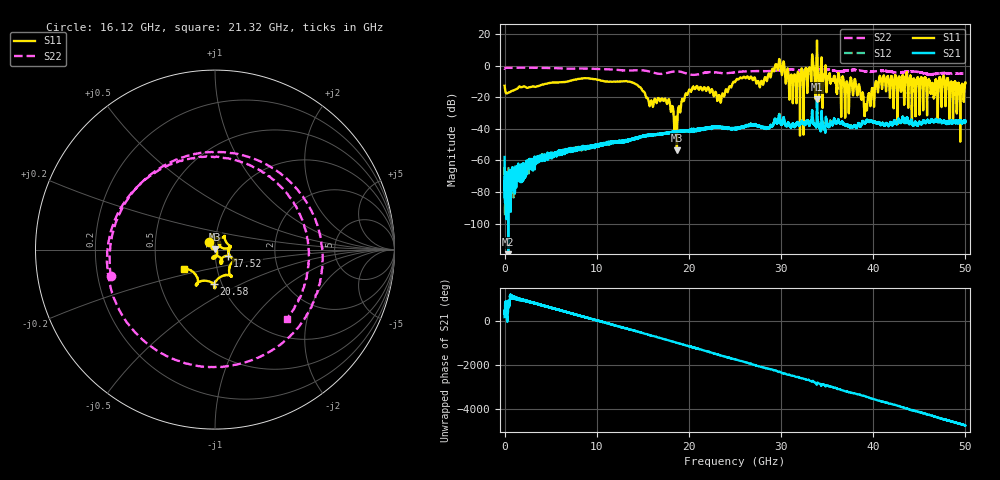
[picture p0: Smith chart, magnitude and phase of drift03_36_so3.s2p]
!Created with skrf (http://scikit-rf.org).
# Hz S RI R 50.0
!freq ReS11 ImS11 ReS21 ImS21 ReS12 ImS12 ReS22 ImS22
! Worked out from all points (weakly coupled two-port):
!   10001 points, 300 kHz to 50 GHz, reference 50 ohm
!   highest |S21| = -21.28 dB at 33.9 GHz (marker M1); lowest = -121.1 dB at 390.3 MHz (marker M2)
!   lowest |S11| = -53.5 dB at 18.7 GHz (marker M3), VSWR 1.00, Z = 50 + j0.212 ohm
!   |S11| at or under -10 dB: start of sweep to 6.944 GHz; 13.31 GHz to 25.05 GHz (11.74 GHz wide, 61.2 % of centre); 38.08 GHz to 40.27 GHz (2.19 GHz wide, 5.59 % of centre) (the widest 3 of 58)
!   |S22| runs from -5.9 to -1.3 dB; largest |S21 - S12| = 0.0081
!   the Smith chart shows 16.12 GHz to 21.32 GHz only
!   S11 on the Smith chart (normalised r, x): 16.12 GHz: 0.94, +0.08; 17.52 GHz: 1.15, -0.08; 20.58 GHz: 0.92, -0.37; 21.32 GHz: 0.69, -0.16
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300000  -0.2069 -0.0983  -0.00118 0.000516  0.000627 0.000174  -0.7713 -0.191
3.902977e8  -0.0947 0.1001  -8.48e-07 -2.43e-07  5.85e-05 -4.36e-05  -0.5943 0.6022
1.540291e9  0.2061 0.0414  -0.000126 -0.000398  -0.000162 -0.000433  0.8496 0.0686
3.160281e9  -0.2186 -0.00834  -6.31e-05 0.000926  0.000102 0.000893  -0.8443 -0.0246
4.665272e9  0.2632 0.0611  -0.000143 -0.00138  0.000102 -0.00137  0.8183 0.142
6.360262e9  -0.2998 0.000529  0.000549 0.00163  0.000725 0.00168  -0.8036 -0.042
8.33525e9  0.2835 -0.2673  -0.00231 -0.00104  -0.00232 -0.00077  0.601 -0.5355
1.043024e10  -0.0428 0.3321  0.00232 -0.00184  0.00237 -0.00192  -0.0369 0.7706
1.201523e10  0.00651 -0.3083  -0.00282 0.00263  -0.00299 0.00259  0.1067 -0.7285
1.61152e10  -0.0318 0.0405  0.00605 0.00224  0.00612 0.00209  -0.5794 -0.1491
1.66702e10  0.0539 0.0755  0.00439 -0.00472  0.00469 -0.00491  -0.3579 0.4186
1.751519e10  0.07 -0.0352  -0.00597 -0.00415  -0.00582 -0.00417  0.4867 0.2981
1.869519e10  0.000126 0.00212  0.00248 0.00808  0.00249 0.00777  -0.0875 -0.6489
2.057518e10  -0.00568 -0.1929  -0.00752 -0.00452  -0.0078 -0.00432  0.374 0.3434
2.131517e10  -0.1719 -0.1082  -0.00562 0.00801  -0.00521 0.00809  0.3984 -0.384
2.500015e10  -0.2968 -0.0486  0.00785 0.0067  0.00778 0.00687  -0.1846 -0.5811
3.051012e10  0.249 -0.1019  -0.00193 0.0128  -0.00218 0.0126  0.7407 -0.061
3.213011e10  0.2 0.3732  -0.000189 -0.0146  -0.000521 -0.0154  -0.6977 0.0137
3.33351e10  0.4516 -0.9924  -0.00559 0.0246  -0.00579 0.0244  0.6136 0.3654
3.38951e10  -0.7219 -6.149  0.0858 0.00868  0.0784 0.00595  0.6782 -0.3259
4.167005e10  -0.2184 0.2867  -0.012 -0.00488  -0.0115 -0.00518  -0.6593 -0.0528
5e10  -0.144 -0.249  0.00121 -0.0164  0.0011 -0.0167  0.464 -0.3135
